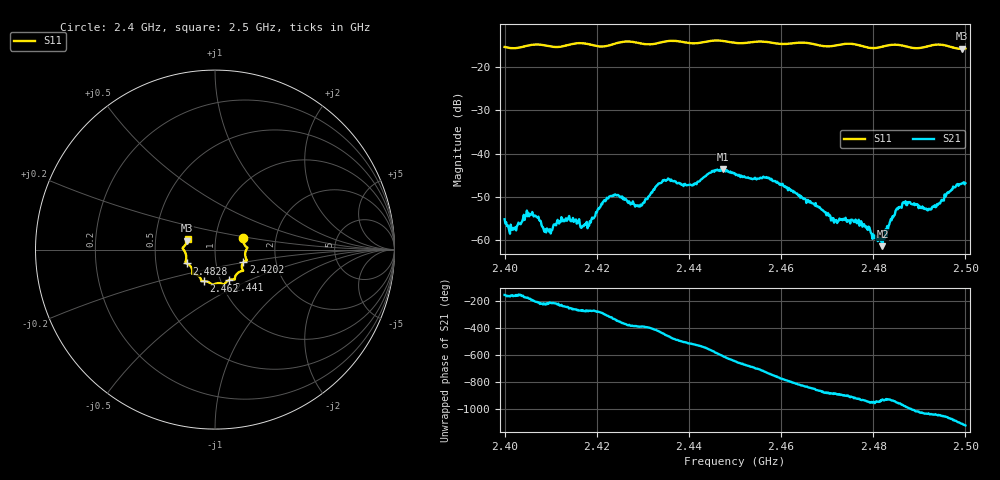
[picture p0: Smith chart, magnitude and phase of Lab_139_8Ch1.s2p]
# Hz S RI R 50
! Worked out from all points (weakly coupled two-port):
!   601 points, 2.4 GHz to 2.5 GHz, reference 50 ohm
!   highest |S21| = -43.61 dB at 2.4473 GHz (marker M1); lowest = -61.4 dB at 2.482 GHz (marker M2)
!   lowest |S11| = -15.8 dB at 2.4992 GHz (marker M3), VSWR 1.39, Z = 36.5 + j3.67 ohm
!   |S11| at or under -10 dB: start of sweep to end of sweep
!   S12 and S22 are empty: the file has one direction only
!   S11 on the Smith chart (normalised r, x): 2.4 GHz: 1.36, +0.18; 2.4202 GHz: 1.36, -0.20; 2.441 GHz: 1.10, -0.39; 2.462 GHz: 0.84, -0.30; 2.4828 GHz: 0.72, -0.11; 2.5 GHz: 0.73, +0.09
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2.4e9  0.1575 0.0629  -0.0016 -0.000715  0 0  0 0
2.402e9  0.1594 0.0389  -0.00128 -0.000375  0 0  0 0
2.405667e9  0.1785 0.0125  -0.00196 0.000289  0 0  0 0
2.409167e9  0.1753 0.00121  -0.00097 0.000965  0 0  0 0
2.413667e9  0.1718 -0.0464  -0.000746 0.00156  0 0  0 0
2.416667e9  0.1779 -0.0601  -4.17e-05 0.00139  0 0  0 0
2.420167e9  0.1581 -0.0708  0.000335 0.0022  0 0  0 0
2.424167e9  0.1522 -0.108  0.00314 0.00109  0 0  0 0
2.429333e9  0.1429 -0.1215  0.00208 -0.00129  0 0  0 0
2.433333e9  0.1121 -0.1511  0.00203 -0.00399  0 0  0 0
2.441e9  0.0786 -0.1696  -0.00426 -0.00135  0 0  0 0
2.447333e9  0.0471 -0.1936  -0.00241 0.00614  0 0  0 0
2.45e9  0.0284 -0.187  0.0018 0.0056  0 0  0 0
2.462e9  -0.0605 -0.1756  0.000713 -0.0038  0 0  0 0
2.466667e9  -0.0779 -0.168  -0.00164 -0.00212  0 0  0 0
2.482e9  -0.1513 -0.08  -0.000745 0.000421  0 0  0 0
2.482833e9  -0.1574 -0.0773  -0.000998 0.000503  0 0  0 0
2.483333e9  -0.1604 -0.0761  -0.00127 0.00073  0 0  0 0
2.4865e9  -0.1631 -0.0645  -0.000756 0.00264  0 0  0 0
2.492167e9  -0.1748 -0.000769  0.00172 0.00149  0 0  0 0
2.499167e9  -0.154 0.049  0.00388 -0.00225  0 0  0 0
2.5e9  -0.1516 0.0612  0.00333 -0.00311  0 0  0 0
